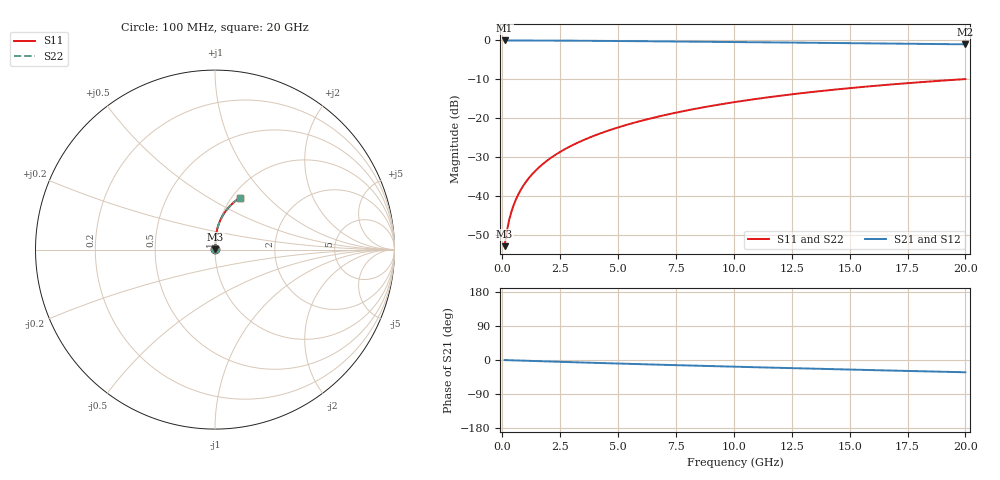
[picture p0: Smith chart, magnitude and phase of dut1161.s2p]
! Touchstone file exported from HFSS 2024.1.0
!  File:  C:/UserFiles/LocalFiles/RDL_TSV_Batchsim/temp_RDL_top_1161_1780048542.aedt
!  Generated:  05:57:56 PM May 29, 2026
!  Design:  RDL_top
!  Project:  temp_RDL_top_1161_1780048542
!  Setup:  Setup1
!  Solution:  Sweep
! Variables:
!  dtsv = 10.80580581um
!  hbump = 3um
!  htsv = 94.29um
!  ldown = 100um
!  lrdl = 426.98um
!  p = 40
!  p1 = 57.14um
!  rhole = 1um
!  t = 450um
!  tdown = 3.915915916um
!  trdl = 4.46um
!  wdown = 15.38538539um
!  wrdl = 23.36um
# GHz S MA R 50.000000
! Terminal data exported
! Port[1] = Box2_T1
! Port[2] = Box2_T2
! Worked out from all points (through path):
!   200 points, 100 MHz to 20 GHz, reference 50 ohm
!   highest |S21| = -0.01 dB at 100 MHz (marker M1); lowest = -1.0 dB at 20 GHz (marker M2)
!   group delay of S21, straight-line fit = 4.45 ps
!   lowest |S11| = -52.9 dB at 100 MHz (marker M3), VSWR 1.00, Z = 50.2 + j0.159 ohm
!   |S11| at or under -10 dB: start of sweep to 19.83 GHz
!   |S22| runs from -52.9 to -9.9 dB; largest |S21 - S12| = 2.5e-15
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0.1  0.002274 44.3  0.9984 -0.2  0.9984 -0.2  0.002274 44.3
! Gamma 0 0 0 0
! Port Impedance 50 0 50 0
0.2  0.003572 61.4  0.9983 -0.4  0.9983 -0.4  0.003572 61.4
0.3  0.004975 68.7  0.9981 -0.6  0.9981 -0.6  0.004975 68.7
0.4  0.006387 72.8  0.998 -0.8  0.998 -0.8  0.006387 72.8
0.5  0.007799 75.5  0.9979 -1.0  0.9979 -1.0  0.007799 75.5
0.7  0.01063 78.9  0.9976 -1.4  0.9976 -1.4  0.01063 78.9
0.8  0.01205 80.1  0.9975 -1.6  0.9975 -1.6  0.01205 80.1
1  0.01491 81.8  0.9972 -1.9  0.9972 -1.9  0.01491 81.8
1.2  0.0178 83.0  0.9969 -2.3  0.9969 -2.3  0.0178 83.0
1.4  0.0207 83.9  0.9965 -2.7  0.9965 -2.7  0.0207 83.9
1.7  0.0251 84.8  0.9958 -3.3  0.9958 -3.3  0.02509 84.8
2  0.02953 85.4  0.995 -3.9  0.995 -3.9  0.02953 85.4
2.7  0.04003 86.3  0.9927 -5.2  0.9927 -5.2  0.04003 86.3
3.5  0.05233 86.6  0.9895 -6.7  0.9895 -6.7  0.05233 86.6
4.2  0.06334 86.5  0.9863 -7.9  0.9863 -7.9  0.06334 86.5
5  0.07622 86.1  0.9822 -9.4  0.9822 -9.4  0.07622 86.1
6.8  0.1061 84.5  0.9722 -12.4  0.9722 -12.4  0.1061 84.5
8.4  0.1333 82.6  0.9628 -15.1  0.9628 -15.1  0.1333 82.6
10.1  0.1624 80.1  0.9525 -17.8  0.9525 -17.8  0.1624 80.1
13.4  0.2178 74.9  0.9322 -22.9  0.9322 -22.9  0.2178 74.9
16.7  0.2702 69.7  0.9115 -27.7  0.9115 -27.7  0.2702 69.7
20  0.3186 64.6  0.8903 -32.4  0.8903 -32.4  0.3186 64.6
